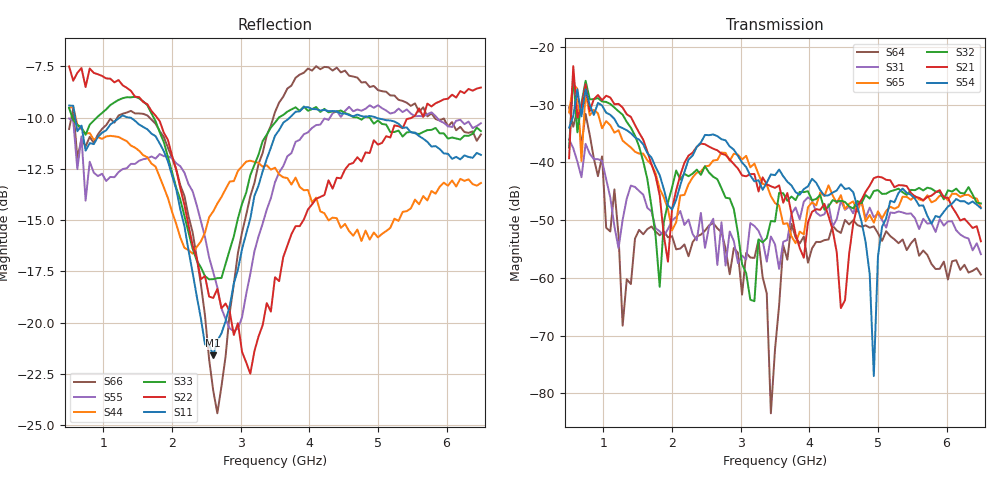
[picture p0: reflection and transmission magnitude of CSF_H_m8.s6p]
!Keysight Technologies,M9804A,MY58100912,A.14.10.03
!Date: Thursday, April 27, 2023 10:28:33
!Correction: S11(C  6-Port  )
!S12(C  6-Port  )
!S13(C  6-Port  )
!S14(C  6-Port  )
!S15(C  6-Port  )
!S16(C  6-Port  )
!S21(C  6-Port  )
!S22(C  6-Port  )
!S23(C  6-Port  )
!S24(C  6-Port  )
!S25(C  6-Port  )
!S26(C  6-Port  )
!S31(C  6-Port  )
!S32(C  6-Port  )
!S33(C  6-Port  )
!S34(C  6-Port  )
!S35(C  6-Port  )
!S36(C  6-Port  )
!S41(C  6-Port  )
!S42(C  6-Port  )
!S43(C  6-Port  )
!S44(C  6-Port  )
!S45(C  6-Port  )
!S46(C  6-Port  )
!S51(C  6-Port  )
!S52(C  6-Port  )
!S53(C  6-Port  )
!S54(C  6-Port  )
!S55(C  6-Port  )
!S56(C  6-Port  )
!S61(C  6-Port  )
!S62(C  6-Port  )
!S63(C  6-Port  )
!S64(C  6-Port  )
!S65(C  6-Port  )
!S66(C  6-Port  )
!S6P File: Measurement: :
# Hz S  RI  R 50
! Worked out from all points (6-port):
!   101 points, 500 MHz to 6.5 GHz, reference 50 ohm
!   strongest paths, dB at 500 MHz, 2 GHz, 3.5 GHz, 5 GHz, 6.5 GHz:
!     S54: -34.0, -48.2, -42.2, -56.3, -47.9
!     S21: -39.3, -48.1, -44.4, -42.5, -53.7
!     S32: -37.4, -44.3, -50.2, -44.8, -47.1
!     S65: -31.3, -51.8, -47.0, -48.5, -47.8
!     S31: -36.0, -50.0, -54.2, -48.9, -55.9
!     S64: -30.5, -52.8, -72.4, -52.3, -59.4
!   lowest |S11| = -21.6 dB at 2.6 GHz (marker M1), VSWR 1.18, Z = 42.6 + j2.01 ohm
!   |S11| at or under -10 dB: 588 MHz to 1.236 GHz (648 MHz wide, 71.1 % of centre); 1.389 GHz to 3.714 GHz (2.326 GHz wide, 91.2 % of centre); 4.971 GHz to end of sweep
